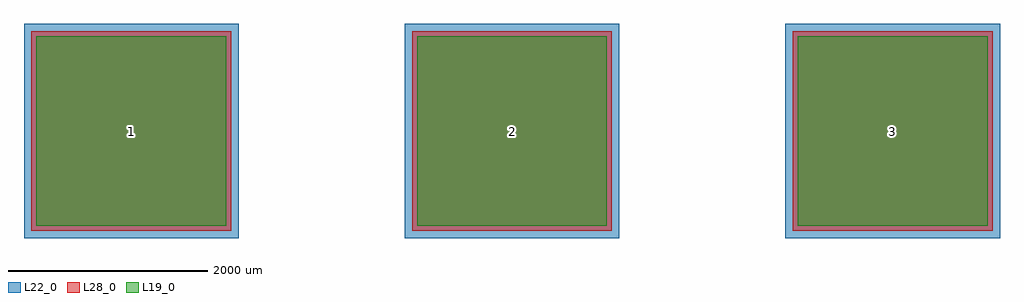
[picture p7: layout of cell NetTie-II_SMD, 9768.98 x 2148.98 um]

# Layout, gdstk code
import gdstk
lib = gdstk.Library(unit=1e-6, precision=1e-09)
def R(c, l, rs):  # rectangles x0, y0, x1, y1
    for r in rs: c.add(gdstk.rectangle(r[:2], r[2:], *l))
def A(c, l, x, y, w, h, nx, ny, dx, dy):  # array of equal rectangles
    R(c, l, [(x+i*dx, y+j*dy, x+i*dx+w, y+j*dy+h) for i in range(nx) for j in range(ny)])
L19_0 = (19, 0)
L22_0 = (22, 0)
L28_0 = (28, 0)

nettie_ii_smd = lib.new_cell('NetTie-II_SMD')
A(nettie_ii_smd, L19_0, -4759.49, -949.49, 1898.98, 1898.98, 3, 1, 3810, 0)
A(nettie_ii_smd, L22_0, -4884.49, -1074.49, 2148.98, 2148.98, 3, 1, 3810, 0)
A(nettie_ii_smd, L28_0, -4809.49, -999.49, 1998.98, 1998.98, 3, 1, 3810, 0)
nettie_ii_smd.add(gdstk.Label('3', (3810,0), layer=28, texttype=0))
nettie_ii_smd.add(gdstk.Label('2', (0,0), layer=28, texttype=0))
nettie_ii_smd.add(gdstk.Label('1', (-3810,0), layer=28, texttype=0))
nettie_ii_smd.add(gdstk.Label('type', (0,3048), layer=9, texttype=0))
nettie_ii_smd.add(gdstk.Label('devicename', (-40.64,-4069.08), layer=9, texttype=0))

lib.write_gds('NetTie-II_SMD.gds')
